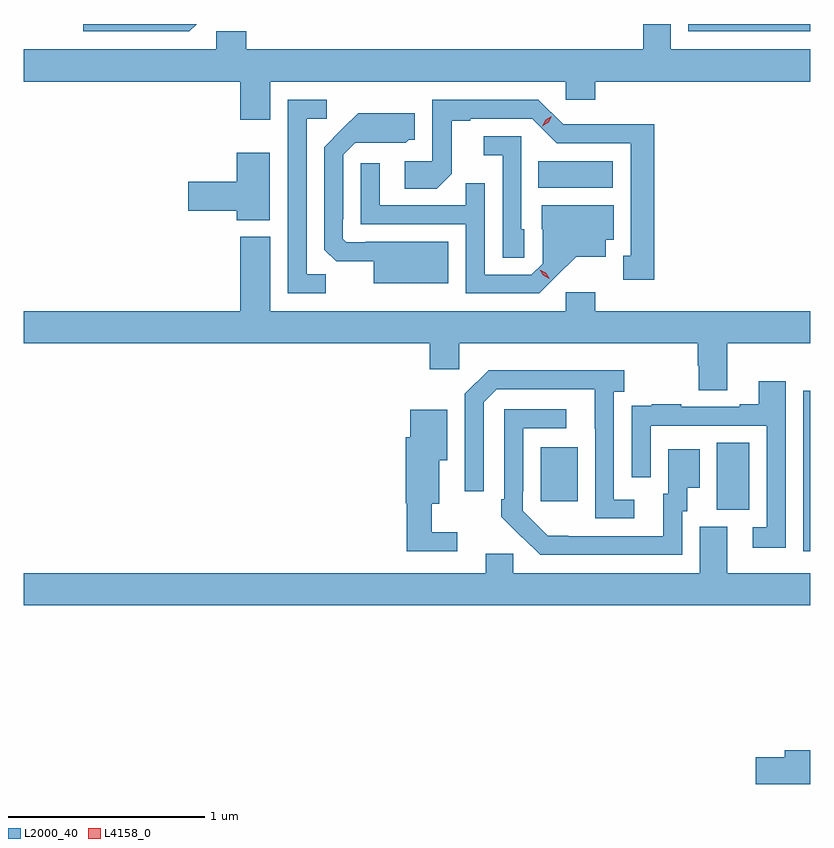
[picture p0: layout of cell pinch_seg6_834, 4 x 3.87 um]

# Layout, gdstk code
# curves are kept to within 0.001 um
import gdstk
lib = gdstk.Library(unit=1e-6, precision=1e-09)
def R(c, l, rs):  # rectangles x0, y0, x1, y1
    for r in rs: c.add(gdstk.rectangle(r[:2], r[2:], *l))
def P(c, l, *ps):  # polygons
    for p in ps: c.add(gdstk.Polygon(p, *l))
L2000_40 = (2000, 40)
L4158_0 = (4158, 0)

pinch_seg6_834 = lib.new_cell('pinch_seg6_834')
R(pinch_seg6_834, L2000_40, [(148.046,982.453,148.21,982.796), (147.149,982.497,147.337,982.771), (147.136,984.092,147.517,984.226), (147.9,984.888,148.52,984.925), (147.355,984.924,147.544,984.925)])
P(pinch_seg6_834, L2000_40, [(145.774,984.632),(147.276,984.632),(147.276,984.539),(147.428,984.539),(147.428,984.632),(148.52,984.632),(148.52,984.796),(147.811,984.796),(147.811,984.925),(147.671,984.925),(147.671,984.796),(145.652,984.796),(145.652,984.889),(145.5,984.889),(145.5,984.796),(144.52,984.796),(144.52,984.632),(145.622,984.632),(145.622,984.438),(145.774,984.438)],
  [(145.399,984.925),(144.822,984.925),(144.822,984.888),(145.362,984.888)],
  [(147.727,984.416),(147.486,984.416),(147.486,984.414),(147.264,984.414),(147.138,984.54),(146.598,984.54),(146.598,984.228),(146.457,984.228),(146.457,984.088),(146.621,984.088),(146.697,984.164),(146.697,984.432),(146.791,984.432),(146.791,984.444),(147.105,984.444),(147.231,984.318),(147.608,984.318),(147.608,983.745),(147.569,983.745),(147.569,983.625),(147.727,983.625)],
  [(146.055,983.651),(145.959,983.651),(145.959,984.444),(146.062,984.444),(146.062,984.54),(145.863,984.54),(145.863,983.556),(146.055,983.556)],
  [(146.68,983.818),(146.26,983.818),(146.26,983.814),(146.16,983.814),(146.142,983.832),(146.142,983.932),(146.145,983.932),(146.145,984.261),(146.205,984.321),(146.462,984.32),(146.478,984.336),(146.509,984.336),(146.509,984.472),(146.221,984.472),(146.049,984.298),(146.049,983.776),(146.108,983.717),(146.3,983.717),(146.3,983.606),(146.68,983.606)],
  [(147.066,983.88),(147.051,983.88),(147.051,984.354),(146.859,984.354),(146.859,984.257),(146.955,984.257),(146.955,983.737),(147.066,983.737)],
  [(145.771,984.271),(145.604,984.271),(145.604,984.122),(145.356,984.122),(145.356,983.975),(145.604,983.975),(145.604,983.927),(145.771,983.927)],
  [(147.226,983.639),(147.329,983.741),(147.481,983.741),(147.481,983.828),(147.52,983.828),(147.52,984.004),(147.155,984.004),(147.155,983.88),(147.159,983.88),(147.159,983.706),(147.102,983.649),(146.865,983.649),(146.865,984.116),(146.767,984.116),(146.767,984.003),(146.331,984.003),(146.331,984.217),(146.235,984.217),(146.235,983.907),(146.769,983.907),(146.769,983.556),(147.142,983.556)],
  [(148.099,983.3),(148.52,983.3),(148.52,983.464),(147.428,983.464),(147.428,983.56),(147.276,983.56),(147.276,983.464),(145.774,983.464),(145.774,983.842),(145.622,983.842),(145.622,983.464),(144.52,983.464),(144.52,983.3),(146.585,983.3),(146.585,983.169),(146.736,983.169),(146.736,983.3),(147.947,983.3),(147.947,983.187),(147.952,983.187),(147.952,983.062),(148.099,983.062)],
  [(147.625,982.506),(147.522,982.506),(147.522,983.054),(147.574,983.054),(147.574,983.164),(146.884,983.164),(146.763,983.043),(146.763,982.548),(146.859,982.548),(146.859,983.001),(146.925,983.067),(147.425,983.067),(147.426,982.41),(147.625,982.41)],
  [(148.395,983.107),(148.259,983.107),(148.259,982.99),(148.163,982.99),(148.163,982.977),(147.863,982.977),(147.863,982.99),(147.715,982.99),(147.715,982.983),(147.613,982.983),(147.613,982.874),(147.612,982.874),(147.612,982.62),(147.708,982.62),(147.708,982.881),(148.299,982.881),(148.299,982.365),(148.227,982.365),(148.227,982.26),(148.395,982.26)],
  [(148.52,983.059),(148.484,983.059),(148.484,982.81),(148.485,982.81),(148.485,982.242),(148.52,982.242)],
  [(147.87,982.446),(147.895,982.446),(147.895,982.565),(147.958,982.565),(147.958,982.762),(147.797,982.762),(147.797,982.536),(147.773,982.536),(147.773,982.32),(147.186,982.321),(147.057,982.449),(147.057,982.549),(147.06,982.549),(147.06,982.869),(147.28,982.869),(147.28,982.965),(146.964,982.965),(146.964,982.507),(146.949,982.507),(146.949,982.419),(147.146,982.224),(147.87,982.224)],
  [(146.725,982.339),(146.596,982.339),(146.596,982.484),(146.632,982.484),(146.632,982.706),(146.674,982.706),(146.674,982.963),(146.486,982.963),(146.486,982.824),(146.462,982.824),(146.462,982.488),(146.467,982.488),(146.467,982.242),(146.725,982.242)],
  [(148.52,982.132),(148.099,982.132),(148.099,982.368),(147.959,982.368),(147.959,982.132),(147.009,982.132),(147.009,982.23),(146.87,982.23),(146.87,982.132),(144.52,982.132),(144.52,981.968),(148.52,981.968)],
  [(148.52,981.23),(148.391,981.23),(148.391,981.194),(148.242,981.194),(148.242,981.059),(148.52,981.059)])
P(pinch_seg6_834, L4158_0, [(147.158,984.404),(147.158,984.405),(147.175,984.438),(147.206,984.457),(147.206,984.457),(147.206,984.457),(147.189,984.424),(147.158,984.404)],
  [(147.192,983.63),(147.162,983.646),(147.144,983.675),(147.144,983.676),(147.144,983.676),(147.175,983.66),(147.193,983.631),(147.193,983.63)])

lib.write_gds('pinch_seg6_834.gds')
